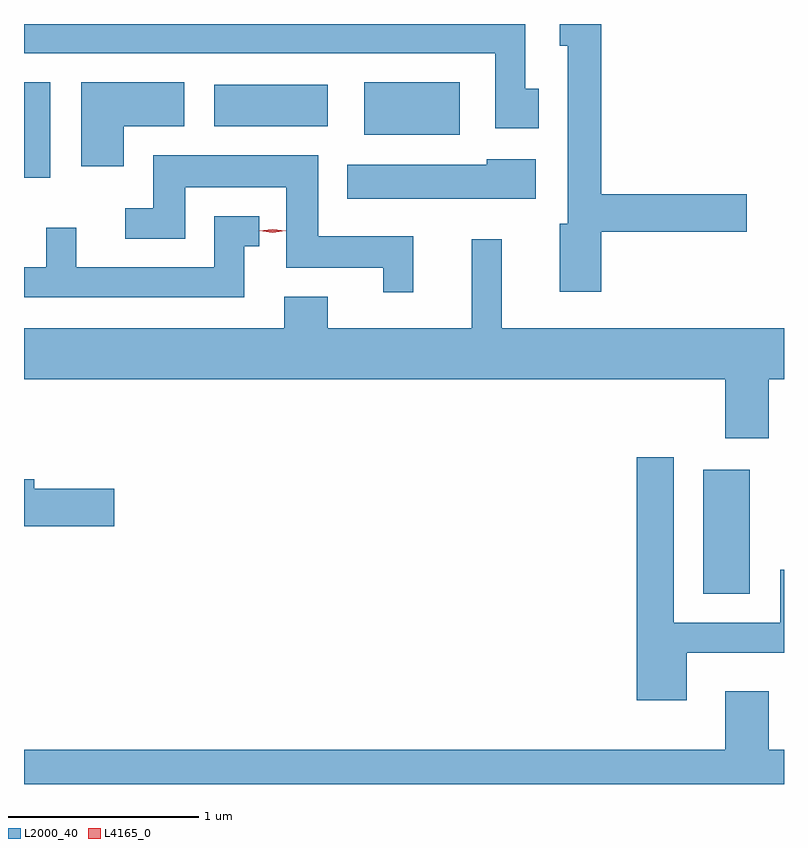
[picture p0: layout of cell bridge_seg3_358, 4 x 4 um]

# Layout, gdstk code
import gdstk
lib = gdstk.Library(unit=1e-6, precision=1e-09)
def R(c, l, rs):  # rectangles x0, y0, x1, y1
    for r in rs: c.add(gdstk.rectangle(r[:2], r[2:], *l))
def P(c, l, *ps):  # polygons
    for p in ps: c.add(gdstk.Polygon(p, *l))
L2000_40 = (2000, 40)
L4165_0 = (4165, 0)

bridge_seg3_358 = lib.new_cell('bridge_seg3_358')
R(bridge_seg3_358, L2000_40, [(682.606,1224.786,682.849,1225.439), (679.03,1226.976,679.169,1227.479), (680.821,1227.201,681.324,1227.479), (680.031,1227.246,680.629,1227.464)])
P(bridge_seg3_358, L2000_40, [(681.739,1227.444),(681.669,1227.444),(681.669,1227.785),(679.03,1227.785),(679.03,1227.631),(681.511,1227.631),(681.511,1227.236),(681.739,1227.236)],
  [(682.069,1226.691),(682.834,1226.691),(682.834,1226.889),(682.069,1226.889),(682.069,1227.785),(681.851,1227.785),(681.851,1227.671),(681.891,1227.671),(681.891,1226.734),(681.851,1226.734),(681.851,1226.376),(682.069,1226.376)],
  [(679.554,1227.246),(679.874,1227.246),(679.874,1227.479),(679.331,1227.479),(679.331,1227.036),(679.554,1227.036)],
  [(681.079,1226.669),(680.579,1226.669),(680.579,1227.094),(679.711,1227.094),(679.711,1226.814),(679.563,1226.814),(679.563,1226.656),(679.879,1226.656),(679.879,1226.926),(680.411,1226.926),(680.411,1226.501),(680.921,1226.501),(680.921,1226.373),(681.079,1226.373)],
  [(681.724,1227.074),(681.466,1227.074),(681.466,1227.044),(680.731,1227.044),(680.731,1226.866),(681.724,1226.866)],
  [(680.189,1226.616),(680.268,1226.616),(680.268,1226.774),(680.031,1226.774),(680.031,1226.504),(679.304,1226.504),(679.304,1226.713),(679.146,1226.713),(679.146,1226.504),(679.03,1226.504),(679.03,1226.346),(680.189,1226.346)],
  [(682.721,1225.606),(682.949,1225.606),(682.949,1225.916),(683.03,1225.916),(683.03,1226.184),(681.544,1226.184),(681.544,1226.653),(681.386,1226.653),(681.386,1226.184),(680.629,1226.184),(680.629,1226.349),(680.401,1226.349),(680.401,1226.184),(679.03,1226.184),(679.03,1225.916),(682.721,1225.916)],
  [(682.519,1224.476),(683.03,1224.476),(683.03,1224.913),(683.011,1224.913),(683.011,1224.634),(682.449,1224.634),(682.449,1225.504),(682.256,1225.504),(682.256,1224.226),(682.519,1224.226)],
  [(679.504,1225.339),(679.084,1225.339),(679.084,1225.389),(679.03,1225.389),(679.03,1225.141),(679.504,1225.141)],
  [(683.03,1223.964),(682.949,1223.964),(682.949,1224.274),(682.721,1224.274),(682.721,1223.964),(679.03,1223.964),(679.03,1223.785),(683.03,1223.785)])
P(bridge_seg3_358, L4165_0, [(680.338,1226.687),(680.269,1226.696),(680.269,1226.696),(680.269,1226.697),(680.338,1226.706),(680.408,1226.697),(680.408,1226.697),(680.408,1226.696)])

lib.write_gds('bridge_seg3_358.gds')
